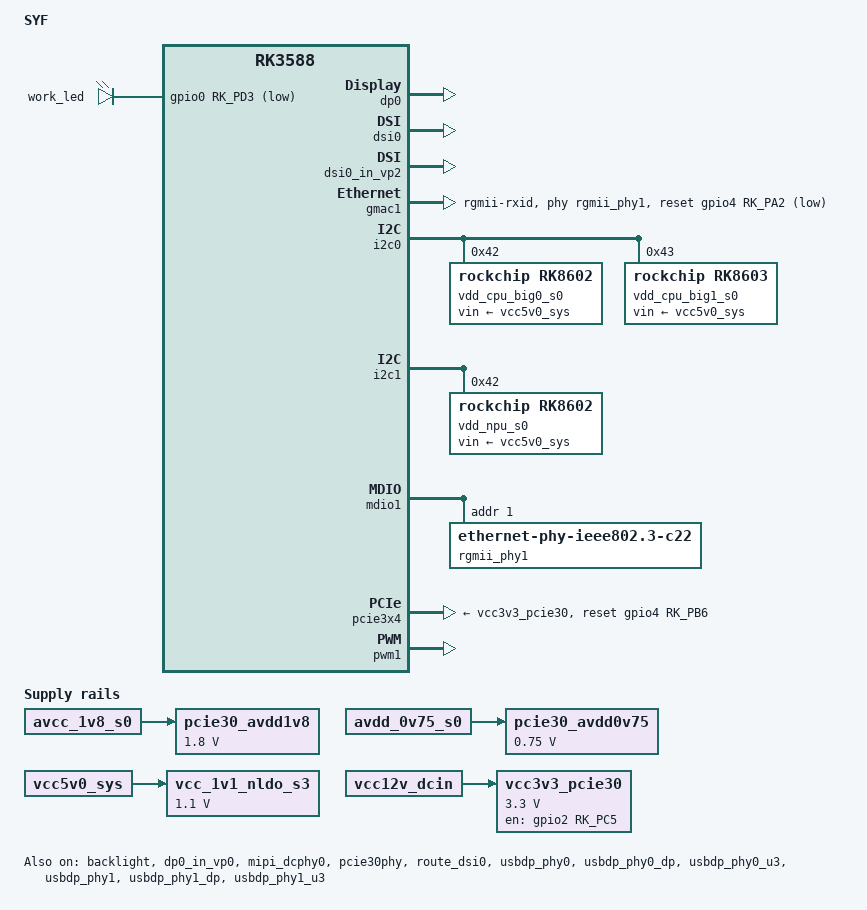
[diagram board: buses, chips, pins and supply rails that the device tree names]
// SPDX-License-Identifier: (GPL-2.0+ OR MIT)
/*
 * Copyright (c) 2021 Rockchip Electronics Co., Ltd.
 *
 */

#include "dt-bindings/usb/pd.h"
#include "rk3588.dtsi"
#include "rk3588-evb.dtsi"
#include "rk3588-rk806-single.dtsi"
#include "rk3588-linux.dtsi"

/ {
	model = "SYF";
	compatible = "rockchip,rk3588-SYF", "rockchip,rk3588";
};


/ {
	pcie30_avdd1v8: pcie30-avdd1v8 {
		compatible = "regulator-fixed";
		regulator-name = "pcie30_avdd1v8";
		regulator-boot-on;
		regulator-always-on;
		regulator-min-microvolt = <1800000>;
		regulator-max-microvolt = <1800000>;
		vin-supply = <&avcc_1v8_s0>;
	};

	pcie30_avdd0v75: pcie30-avdd0v75 {
		compatible = "regulator-fixed";
		regulator-name = "pcie30_avdd0v75";
		regulator-boot-on;
		regulator-always-on;
		regulator-min-microvolt = <750000>;
		regulator-max-microvolt = <750000>;
		vin-supply = <&avdd_0v75_s0>;
	};

	vcc_1v1_nldo_s3: vcc-1v1-nldo-s3 {
		compatible = "regulator-fixed";
		regulator-name = "vcc_1v1_nldo_s3";
		regulator-always-on;
		regulator-boot-on;
		regulator-min-microvolt = <1100000>;
		regulator-max-microvolt = <1100000>;
		vin-supply = <&vcc5v0_sys>;
	};
	
	vcc3v3_pcie30: vcc3v3-pcie30 {
		compatible = "regulator-fixed";
		regulator-name = "vcc3v3_pcie30";
		regulator-min-microvolt = <3300000>;
		regulator-max-microvolt = <3300000>;
		enable-active-high;
		gpios = <&gpio2 RK_PC5 GPIO_ACTIVE_HIGH>;
		startup-delay-us = <5000>;
		vin-supply = <&vcc12v_dcin>;
	};

	leds {
		compatible = "gpio-leds";
		pinctrl-names = "default";
		pinctrl-0 = <&led_rgb_b>;

		work_led: work {
			//function = LED_FUNCTION_STATUS;
			//color = <LED_COLOR_ID_BLUE>;
			gpios = <&gpio0 RK_PD3 GPIO_ACTIVE_LOW>;
			linux,default-trigger = "heartbeat";
		};
	};
	
};

&backlight {
	pwms = <&pwm1 0 25000 0>;
	status = "okay";
};

&dp0 {
	status = "okay";
};

&dp0_in_vp0 {
	status = "okay";
};

/*
 * mipi_dcphy0 needs to be enabled
 * when dsi0 is enabled
 */
&dsi0 {
	status = "okay";
};

&dsi0_in_vp2 {
	status = "okay";
};

&gmac1 {
	/* Use rgmii-rxid mode to disable rx delay inside Soc */
	phy-mode = "rgmii-rxid";
	clock_in_out = "output";

	snps,reset-gpio = <&gpio4 RK_PA2 GPIO_ACTIVE_LOW>;
	snps,reset-active-low;
	/* Reset time is 20ms, 100ms for rtl8211f */
	snps,reset-delays-us = <0 20000 100000>;

	pinctrl-names = "default";
	pinctrl-0 = <&gmac1_miim
		     &gmac1_tx_bus2
		     &gmac1_rx_bus2
		     &gmac1_rgmii_clk
		     &gmac1_rgmii_bus>;

	tx_delay = <0x15>;
	/* rx_delay = <0x3f>; */

	phy-handle = <&rgmii_phy1>;
	status = "okay";
};


&i2c0 {
	status = "okay";
	pinctrl-names = "default";
	pinctrl-0 = <&i2c0m2_xfer>;

	vdd_cpu_big0_s0: vdd_cpu_big0_mem_s0: rk8602@42 {
		compatible = "rockchip,rk8602";
		reg = <0x42>;
		vin-supply = <&vcc5v0_sys>;
		regulator-compatible = "rk860x-reg";
		regulator-name = "vdd_cpu_big0_s0";
		regulator-min-microvolt = <550000>;
		regulator-max-microvolt = <1050000>;
		regulator-ramp-delay = <2300>;
		rockchip,suspend-voltage-selector = <1>;
		regulator-boot-on;
		regulator-always-on;
		regulator-state-mem {
			regulator-off-in-suspend;
		};
	};

	vdd_cpu_big1_s0: vdd_cpu_big1_mem_s0: rk8603@43 {
		compatible = "rockchip,rk8603";
		reg = <0x43>;
		vin-supply = <&vcc5v0_sys>;
		regulator-compatible = "rk860x-reg";
		regulator-name = "vdd_cpu_big1_s0";
		regulator-min-microvolt = <550000>;
		regulator-max-microvolt = <1050000>;
		regulator-ramp-delay = <2300>;
		rockchip,suspend-voltage-selector = <1>;
		regulator-boot-on;
		regulator-always-on;
		regulator-state-mem {
			regulator-off-in-suspend;
		};
	};
};

&i2c1 {
	status = "okay";
	pinctrl-names = "default";
	pinctrl-0 = <&i2c1m2_xfer>;
	
	vdd_npu_s0: vdd_npu_mem_s0: rk8602@42 {
		compatible = "rockchip,rk8602";
		reg = <0x42>;
		vin-supply = <&vcc5v0_sys>;
		regulator-compatible = "rk860x-reg";
		regulator-name = "vdd_npu_s0";
		regulator-min-microvolt = <550000>;
		regulator-max-microvolt = <950000>;
		regulator-ramp-delay = <2300>;
		rockchip,suspend-voltage-selector = <1>;
		regulator-boot-on;
		regulator-always-on;
		regulator-state-mem {
			regulator-off-in-suspend;
		};
	};
};

&mdio1 {
	rgmii_phy1: phy@0 {
		compatible = "ethernet-phy-ieee802.3-c22";
		reg = <0x1>;
	};
};

&mipi_dcphy0 {
	status = "okay";
};

&pcie30phy {
	rockchip,pcie30-phymode = <PHY_MODE_PCIE_AGGREGATION>;
	status = "okay";
};

&pcie3x4 {
	reset-gpios = <&gpio4 RK_PB6 GPIO_ACTIVE_HIGH>;
	vpcie3v3-supply = <&vcc3v3_pcie30>;
	status = "okay";
};


&pwm1 {
	status = "okay";
};

&route_dsi0 {
	status = "okay";
	connect = <&vp2_out_dsi0>;
};

&u2phy0_otg {
	status = "disabled";
};

&usbdp_phy0 {
	rockchip,dp-lane-mux = <2 3>;
	status = "okay";
};

&usbdp_phy0_dp {
	status = "okay";
};

&usbdp_phy0_u3 {
	status = "okay";
};

&usbdp_phy1 {
	rockchip,dp-lane-mux = <3 2 1 0>;
	status = "okay";
};

&usbdp_phy1_dp {
	status = "okay";
};

&usbdp_phy1_u3 {
	maximum-speed = "high-speed";
	status = "okay";
};

&usbdrd_dwc3_0 {
	dr_mode = "otg";
	extcon = <&u2phy0>;
	status = "disabled";
};

&usbdrd_dwc3_1 {
	dr_mode = "host";
	maximum-speed = "high-speed";
	status = "disabled";
};

&pinctrl {
	leds {
		led_rgb_b: work {
			rockchip,pins = <0 RK_PD3 RK_FUNC_GPIO &pcfg_pull_none>;
		};
	};

};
